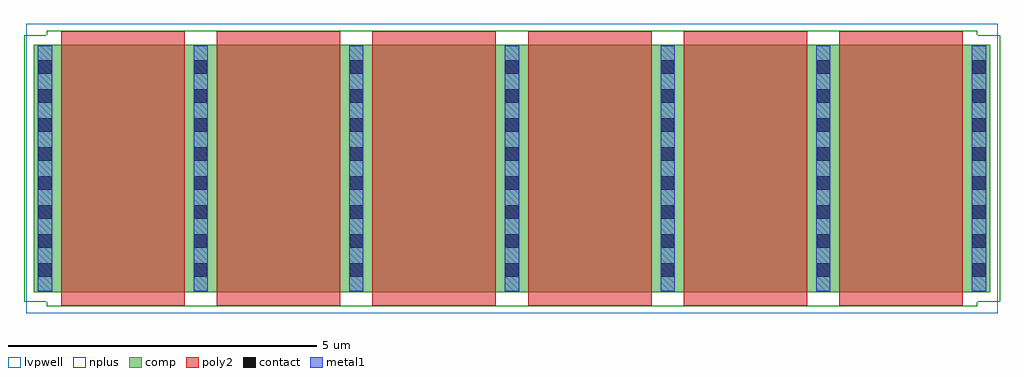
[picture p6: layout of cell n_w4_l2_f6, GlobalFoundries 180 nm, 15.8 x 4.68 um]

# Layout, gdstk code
import gdstk
lib = gdstk.Library(unit=1e-6, precision=1e-09)
def R(c, l, rs):  # rectangles x0, y0, x1, y1
    for r in rs: c.add(gdstk.rectangle(r[:2], r[2:], *l))
def A(c, l, x, y, w, h, nx, ny, dx, dy):  # array of equal rectangles
    R(c, l, [(x+i*dx, y+j*dy, x+i*dx+w, y+j*dy+h) for i in range(nx) for j in range(ny)])
comp = (22, 0)
poly2 = (30, 0)
nplus = (32, 0)
contact = (33, 0)
metal1 = (34, 0)
lvpwell = (204, 0)

n_w4_l2_f6 = lib.new_cell('n_w4_l2_f6')
R(n_w4_l2_f6, comp, [(-7.74,-2,7.74,2)])
A(n_w4_l2_f6, poly2, -7.3, -2.22, 2, 4.44, 6, 1, 2.52, 0)
R(n_w4_l2_f6, nplus, [(-7.53,-2.23,7.53,-2.16), (-7.9,-2.16,7.9,2.16), (-7.53,2.16,7.53,2.23)])
A(n_w4_l2_f6, contact, -7.67, -1.755, 0.22, 0.22, 7, 8, 2.52, 0.47)
A(n_w4_l2_f6, metal1, -7.675, -1.99, 0.23, 3.98, 7, 1, 2.52, 0)
R(n_w4_l2_f6, lvpwell, [(-7.86,-2.34,7.86,2.34)])

lib.write_gds('n_w4_l2_f6.gds')
